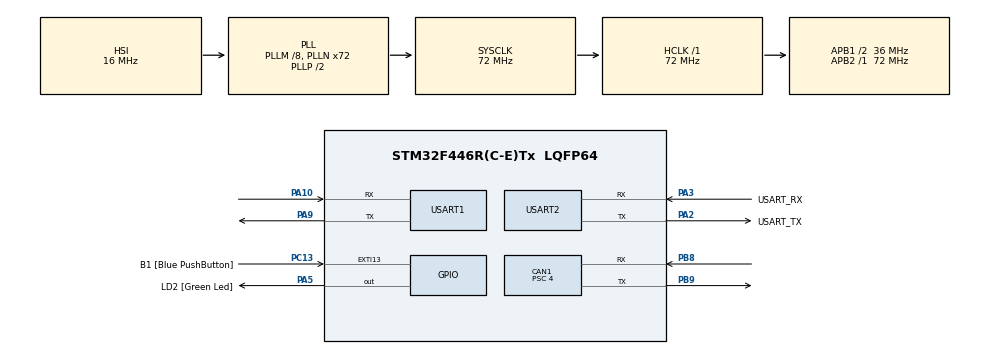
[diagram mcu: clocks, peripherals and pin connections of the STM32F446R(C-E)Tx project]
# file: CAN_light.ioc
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CAN1.BS1=CAN_BS1_13TQ
CAN1.BS2=CAN_BS2_4TQ
CAN1.CalculateBaudRate=500000
CAN1.CalculateTimeBit=2000
CAN1.CalculateTimeQuantum=111.11111111111111
CAN1.Prescaler=4
Mcu.Family=STM32F4
Mcu.Name=STM32F446R(C-E)Tx
Mcu.Package=LQFP64
NVIC.PriorityGroup=NVIC_PRIORITYGROUP_0
NVIC.USART1_IRQn=true\:0\:0\:false\:false\:true\:true\:true\:true
PA10.Mode=Asynchronous
PA10.Signal=USART1_RX
PA13.GPIO_Label=TMS
PA13.Mode=Serial_Wire
PA13.Signal=SYS_JTMS-SWDIO
PA14.GPIO_Label=TCK
PA14.Mode=Serial_Wire
PA14.Signal=SYS_JTCK-SWCLK
PA2.GPIO_Label=USART_TX
PA2.Mode=Asynchronous
PA2.Signal=USART2_TX
PA3.GPIO_Label=USART_RX
PA3.Mode=Asynchronous
PA3.Signal=USART2_RX
PA5.GPIO_Label=LD2 [Green Led]
PA5.Signal=GPIO_Output
PA9.Mode=Asynchronous
PA9.Signal=USART1_TX
PB3.GPIO_Label=SWO
PB3.Signal=SYS_JTDO-SWO
PB8.Mode=CAN_Activate
PB8.Signal=CAN1_RX
PB9.Mode=CAN_Activate
PB9.Signal=CAN1_TX
PC13.GPIO_Label=B1 [Blue PushButton]
PC13.GPIO_ModeDefaultEXTI=GPIO_MODE_IT_FALLING
PC13.Signal=GPXTI13
PC14-OSC32_IN.Mode=LSE-External-Oscillator
PC14-OSC32_IN.Signal=RCC_OSC32_IN
PC15-OSC32_OUT.Mode=LSE-External-Oscillator
PC15-OSC32_OUT.Signal=RCC_OSC32_OUT
PH0-OSC_IN.Mode=HSE-External-Oscillator
PH0-OSC_IN.Signal=RCC_OSC_IN
PH1-OSC_OUT.Mode=HSE-External-Oscillator
PH1-OSC_OUT.Signal=RCC_OSC_OUT
ProjectManager.HeapSize=0x200
ProjectManager.StackSize=0x400
ProjectManager.TargetToolchain=STM32CubeIDE
RCC.48MHZClocksFreq_Value=84000000
RCC.AHBFreq_Value=72000000
RCC.APB1CLKDivider=RCC_HCLK_DIV2
RCC.APB1Freq_Value=36000000
RCC.APB1TimFreq_Value=72000000
RCC.APB2Freq_Value=72000000
RCC.APB2TimFreq_Value=72000000
RCC.CortexFreq_Value=72000000
RCC.FLatency-AdvancedSettings=FLASH_LATENCY_2
RCC.HCLKFreq_Value=72000000
RCC.HSE_VALUE=8000000
RCC.HSI_VALUE=16000000
RCC.PLLM=8
RCC.PLLN=72
RCC.SYSCLKFreq_VALUE=72000000
RCC.SYSCLKSource=RCC_SYSCLKSOURCE_PLLCLK
RCC.USBFreq_Value=72000000
RCC.VCOOutputFreq_Value=144000000
USART1.VirtualMode=VM_ASYNC
USART2.VirtualMode=VM_ASYNC
board=NUCLEO-F446RE

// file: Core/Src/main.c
/* USER CODE BEGIN Header */
/**
  ******************************************************************************
  * @file           : main.c
  * @brief          : Main program body
  ******************************************************************************
  * @attention
  *
  * Copyright (c) 2025 STMicroelectronics.
  * All rights reserved.
  *
  * This software is licensed under terms that can be found in the LICENSE file
  * in the root directory of this software component.
  * If no LICENSE file comes with this software, it is provided AS-IS.
  *
  ******************************************************************************
  */
/* USER CODE END Header */
#include "main.h"
#include "can.h"
#include "usart.h"
#include "gpio.h"

/* USER CODE BEGIN Includes */
#include "uart_efr32.h"
#include <stdint.h>
#include <stdio.h>
#include "can_driver.h"
/* USER CODE END Includes */

void SystemClock_Config(void);

/* USER CODE BEGIN 0 */
// Override prinft stdio to uart2
void __io_putchar(uint8_t ch) {
    HAL_UART_Transmit(&huart2, &ch, 1, 1);
}
/* USER CODE END 0 */

int main(void)
{

  /* MCU Configuration--------------------------------------------------------*/

  /* Reset of all peripherals, Initializes the Flash interface and the Systick. */
  HAL_Init();

  /* Configure the system clock */
  SystemClock_Config();

  /* Initialize all configured peripherals */
  MX_GPIO_Init();
  MX_USART2_UART_Init();
  MX_CAN1_Init();
  MX_USART1_UART_Init();
  /* USER CODE BEGIN 2 */
  uart_efr32_start_reception();
  uint8_t light_level=0;

#if IS_SENDER != 1
  CAN_ConfigFilter(); // Config receiver filter

#endif

  if (HAL_CAN_Start(&hcan1) != HAL_OK)
  {
      Error_Handler();
  }

  /* USER CODE END 2 */

  /* Infinite loop */
  /* USER CODE BEGIN WHILE */
  while (1)
  {

#if IS_SENDER == 1
	  light_level = uart_efr32_get_luminosity();
	  printf("\nLEVEL: %d\n",light_level);
	  CAN_SendSensorState(light_level);
#endif
	  HAL_Delay(1000);
    /* USER CODE END WHILE */

  }
}

void SystemClock_Config(void)
{
  RCC_OscInitTypeDef RCC_OscInitStruct = {0};
  RCC_ClkInitTypeDef RCC_ClkInitStruct = {0};

  /** Configure the main internal regulator output voltage
  */
  __HAL_RCC_PWR_CLK_ENABLE();
  __HAL_PWR_VOLTAGESCALING_CONFIG(PWR_REGULATOR_VOLTAGE_SCALE3);

  /** Initializes the RCC Oscillators according to the specified parameters
  * in the RCC_OscInitTypeDef structure.
  */
  RCC_OscInitStruct.OscillatorType = RCC_OSCILLATORTYPE_HSI;
  RCC_OscInitStruct.HSIState = RCC_HSI_ON;
  RCC_OscInitStruct.HSICalibrationValue = RCC_HSICALIBRATION_DEFAULT;
  RCC_OscInitStruct.PLL.PLLState = RCC_PLL_ON;
  RCC_OscInitStruct.PLL.PLLSource = RCC_PLLSOURCE_HSI;
  RCC_OscInitStruct.PLL.PLLM = 8;
  RCC_OscInitStruct.PLL.PLLN = 72;
  RCC_OscInitStruct.PLL.PLLP = RCC_PLLP_DIV2;
  RCC_OscInitStruct.PLL.PLLQ = 2;
  RCC_OscInitStruct.PLL.PLLR = 2;
  if (HAL_RCC_OscConfig(&RCC_OscInitStruct) != HAL_OK)
  {
    Error_Handler();
  }

  /** Initializes the CPU, AHB and APB buses clocks
  */
  RCC_ClkInitStruct.ClockType = RCC_CLOCKTYPE_HCLK|RCC_CLOCKTYPE_SYSCLK
                              |RCC_CLOCKTYPE_PCLK1|RCC_CLOCKTYPE_PCLK2;
  RCC_ClkInitStruct.SYSCLKSource = RCC_SYSCLKSOURCE_PLLCLK;
  RCC_ClkInitStruct.AHBCLKDivider = RCC_SYSCLK_DIV1;
  RCC_ClkInitStruct.APB1CLKDivider = RCC_HCLK_DIV2;
  RCC_ClkInitStruct.APB2CLKDivider = RCC_HCLK_DIV1;

  if (HAL_RCC_ClockConfig(&RCC_ClkInitStruct, FLASH_LATENCY_2) != HAL_OK)
  {
    Error_Handler();
  }
}

void Error_Handler(void)
{
  __disable_irq();
  while (1)
  {
  }
}
